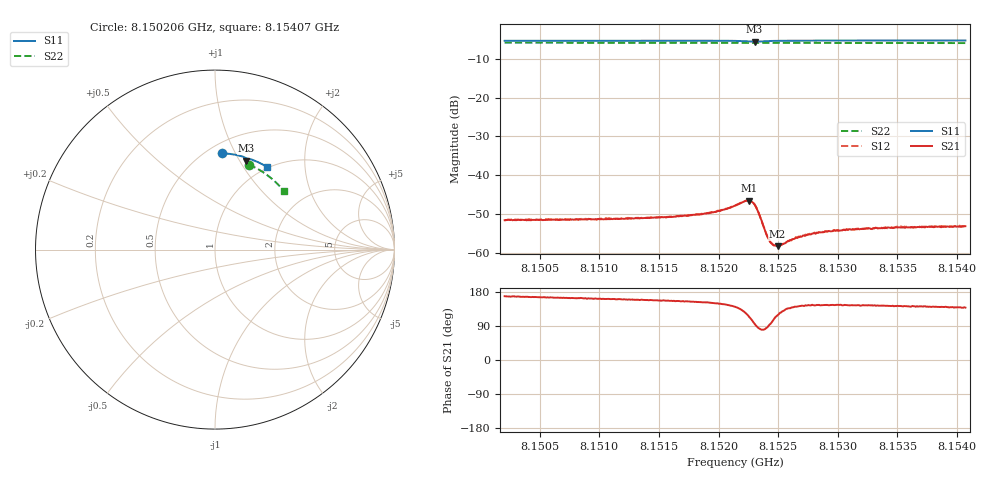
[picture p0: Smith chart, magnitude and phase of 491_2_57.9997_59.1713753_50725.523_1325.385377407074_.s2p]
#  HZ  S  RI  R  50.00
! Rohde & Schwarz Vector Network Analyzer
! Rohde-Schwarz,ZNB20-2Port,1311601062101988,3.16
! Created: UTC 3/21/2024, 1:12:17 AM
! freq[Hz]  re:S11  im:S11  re:S21  im:S21  re:S12  im:S12  re:S22  im:S22
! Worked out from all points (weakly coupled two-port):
!   401 points, 8.150206 GHz to 8.15407 GHz, reference 50 ohm
!   highest |S21| = -46.55 dB at 8.152254 GHz (marker M1); lowest = -58.3 dB at 8.152495 GHz (marker M2)
!   lowest |S11| = -5.6 dB at 8.152302 GHz (marker M3), VSWR 3.21, Z = 39 + j53.4 ohm
!   |S11| at or under -10 dB: nowhere
!   |S22| runs from -6.0 to -5.9 dB; largest |S21 - S12| = 0.00011
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8.1502058e9  0.0374 0.5372  -0.00258 0.000532  -0.00258 0.000569  0.1887 0.4735
8.1508531e9  0.0824 0.5331  -0.0026 0.000768  -0.0026 0.000883  0.2262 0.4557
8.1515003e9  0.1273 0.5251  -0.00263 0.00113  -0.00264 0.00118  0.2621 0.435
8.1517611e9  0.1456 0.5206  -0.00274 0.00133  -0.00273 0.00138  0.2758 0.4257
8.1519157e9  0.1569 0.5172  -0.00285 0.00154  -0.00287 0.00157  0.2841 0.4202
8.1520219e9  0.1649 0.514  -0.00299 0.00186  -0.00301 0.00192  0.2896 0.4161
8.1521379e9  0.1739 0.5086  -0.00314 0.00257  -0.0031 0.00263  0.2954 0.4116
8.1522151e9  0.1785 0.5019  -0.00278 0.00365  -0.00275 0.00372  0.2994 0.4085
8.1522538e9  0.1781 0.4974  -0.002 0.00426  -0.00197 0.00429  0.3011 0.4068
8.1522828e9  0.1757 0.4953  -0.00108 0.00439  -0.00103 0.00445  0.3022 0.4058
8.1523021e9  0.1736 0.4954  -0.000394 0.00416  -0.000356 0.00422  0.3031 0.4051
8.1523407e9  0.1714 0.4988  0.000375 0.00311  0.000426 0.00312  0.3048 0.4038
8.152389e9  0.1739 0.5035  0.000291 0.00193  0.000342 0.00197  0.3075 0.4021
8.152418e9  0.1766 0.5051  6.44e-06 0.00153  5.92e-05 0.00154  0.3089 0.4009
8.1524566e9  0.1804 0.5059  -0.000318 0.00123  -0.00031 0.00124  0.311 0.3996
8.1524953e9  0.1842 0.5061  -0.000576 0.00108  -0.000585 0.00108  0.3129 0.398
8.1525436e9  0.1885 0.5056  -0.000831 0.00101  -0.000817 0.00103  0.3152 0.3961
8.1526498e9  0.1971 0.5037  -0.0012 0.000993  -0.00124 0.00101  0.3206 0.3917
8.1527851e9  0.207 0.5007  -0.00147 0.000996  -0.00145 0.00105  0.3268 0.386
8.1530073e9  0.2221 0.495  -0.00159 0.00109  -0.0016 0.00115  0.3374 0.3765
8.1534323e9  0.2495 0.4826  -0.00168 0.00128  -0.00167 0.0013  0.3565 0.3576
8.1540699e9  0.2884 0.4616  -0.00164 0.00147  -0.00163 0.00151  0.3829 0.3275
